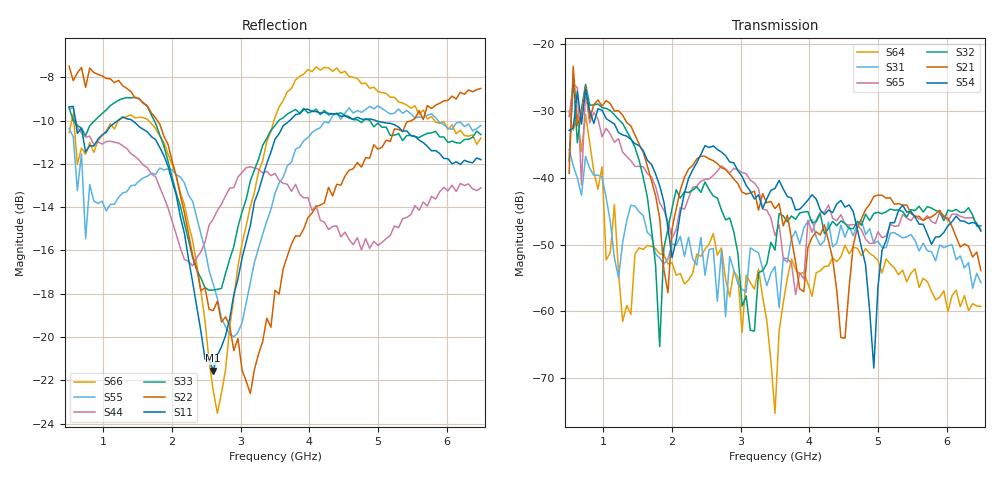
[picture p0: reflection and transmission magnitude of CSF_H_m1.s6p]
!Keysight Technologies,M9804A,MY58100912,A.14.10.03
!Date: Thursday, April 27, 2023 10:28:33
!Correction: S11(C  6-Port  )
!S12(C  6-Port  )
!S13(C  6-Port  )
!S14(C  6-Port  )
!S15(C  6-Port  )
!S16(C  6-Port  )
!S21(C  6-Port  )
!S22(C  6-Port  )
!S23(C  6-Port  )
!S24(C  6-Port  )
!S25(C  6-Port  )
!S26(C  6-Port  )
!S31(C  6-Port  )
!S32(C  6-Port  )
!S33(C  6-Port  )
!S34(C  6-Port  )
!S35(C  6-Port  )
!S36(C  6-Port  )
!S41(C  6-Port  )
!S42(C  6-Port  )
!S43(C  6-Port  )
!S44(C  6-Port  )
!S45(C  6-Port  )
!S46(C  6-Port  )
!S51(C  6-Port  )
!S52(C  6-Port  )
!S53(C  6-Port  )
!S54(C  6-Port  )
!S55(C  6-Port  )
!S56(C  6-Port  )
!S61(C  6-Port  )
!S62(C  6-Port  )
!S63(C  6-Port  )
!S64(C  6-Port  )
!S65(C  6-Port  )
!S66(C  6-Port  )
!S6P File: Measurement: :
# Hz S  RI  R 50
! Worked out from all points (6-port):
!   101 points, 500 MHz to 6.5 GHz, reference 50 ohm
!   strongest paths, dB at 500 MHz, 2 GHz, 3.5 GHz, 5 GHz, 6.5 GHz:
!     S54: -33.0, -52.0, -41.6, -56.4, -48.0
!     S21: -39.4, -47.6, -44.6, -42.6, -53.9
!     S32: -37.5, -44.6, -50.8, -45.2, -47.2
!     S65: -30.9, -49.1, -48.7, -48.1, -47.8
!     S31: -35.8, -49.9, -53.3, -49.5, -55.7
!     S64: -30.0, -52.7, -75.2, -52.4, -59.2
!   lowest |S11| = -21.5 dB at 2.6 GHz (marker M1), VSWR 1.18, Z = 42.5 + j2.08 ohm
!   |S11| at or under -10 dB: 591.5 MHz to 1.21 GHz (618.8 MHz wide, 68.7 % of centre); 1.42 GHz to 3.714 GHz (2.294 GHz wide, 89.3 % of centre); 4.967 GHz to end of sweep
